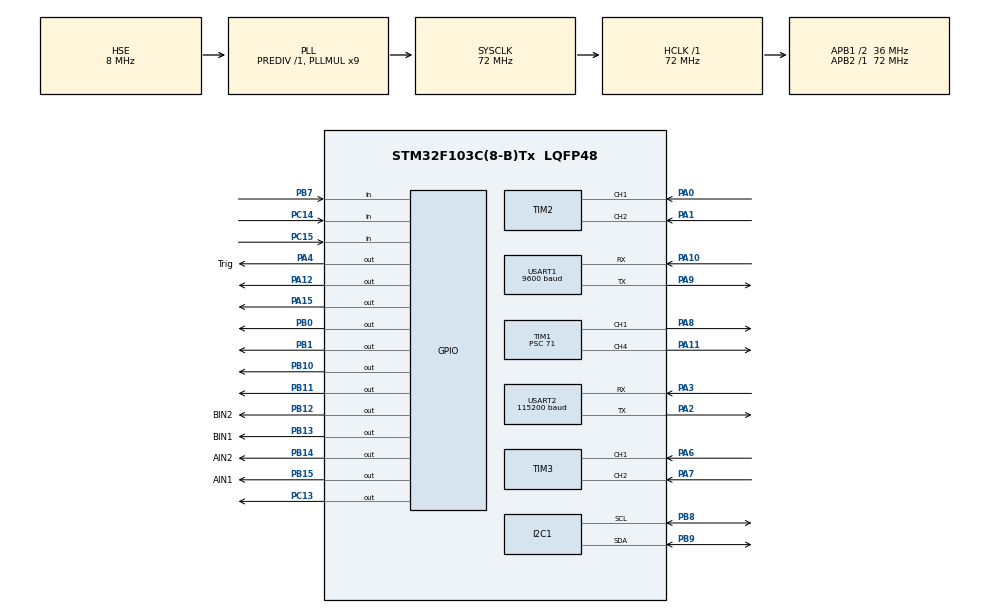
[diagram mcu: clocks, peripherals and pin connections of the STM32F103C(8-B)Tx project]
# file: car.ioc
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Mcu.Family=STM32F1
Mcu.Name=STM32F103C(8-B)Tx
Mcu.Package=LQFP48
NVIC.PriorityGroup=NVIC_PRIORITYGROUP_4
NVIC.USART1_IRQn=true\:0\:0\:false\:false\:true\:true\:true\:true
NVIC.USART2_IRQn=true\:0\:0\:false\:false\:true\:true\:true\:true
PA0-WKUP.GPIO_PuPd=GPIO_PULLUP
PA0-WKUP.Signal=S_TIM2_CH1_ETR
PA1.GPIO_PuPd=GPIO_PULLUP
PA1.Signal=S_TIM2_CH2
PA10.GPIO_PuPd=GPIO_PULLUP
PA10.Mode=Asynchronous
PA10.Signal=USART1_RX
PA11.Signal=S_TIM1_CH4
PA12.Signal=GPIO_Output
PA13.Mode=Serial_Wire
PA13.Signal=SYS_JTMS-SWDIO
PA14.Mode=Serial_Wire
PA14.Signal=SYS_JTCK-SWCLK
PA15.Signal=GPIO_Output
PA2.Mode=Asynchronous
PA2.Signal=USART2_TX
PA3.Mode=Asynchronous
PA3.Signal=USART2_RX
PA4.GPIO_Label=Trig
PA4.Signal=GPIO_Output
PA6.GPIO_PuPd=GPIO_PULLUP
PA6.Signal=S_TIM3_CH1
PA7.GPIO_PuPd=GPIO_PULLUP
PA7.Signal=S_TIM3_CH2
PA8.Signal=S_TIM1_CH1
PA9.Mode=Asynchronous
PA9.Signal=USART1_TX
PB0.Signal=GPIO_Output
PB1.Signal=GPIO_Output
PB10.Signal=GPIO_Output
PB11.Signal=GPIO_Output
PB12.GPIO_Label=BIN2
PB12.GPIO_Speed=GPIO_SPEED_FREQ_MEDIUM
PB12.Signal=GPIO_Output
PB13.GPIO_Label=BIN1
PB13.GPIO_Speed=GPIO_SPEED_FREQ_MEDIUM
PB13.Signal=GPIO_Output
PB14.GPIO_Label=AIN2
PB14.GPIO_Speed=GPIO_SPEED_FREQ_MEDIUM
PB14.Signal=GPIO_Output
PB15.GPIO_Label=AIN1
PB15.GPIO_Speed=GPIO_SPEED_FREQ_MEDIUM
PB15.Signal=GPIO_Output
PB7.GPIO_PuPd=GPIO_PULLDOWN
PB7.Signal=GPIO_Input
PB8.Mode=I2C
PB8.Signal=I2C1_SCL
PB9.Mode=I2C
PB9.Signal=I2C1_SDA
PC13-TAMPER-RTC.Signal=GPIO_Output
PC14-OSC32_IN.GPIO_PuPd=GPIO_PULLDOWN
PC14-OSC32_IN.Signal=GPIO_Input
PC15-OSC32_OUT.GPIO_PuPd=GPIO_PULLDOWN
PC15-OSC32_OUT.Signal=GPIO_Input
PD0-OSC_IN.Mode=HSE-External-Oscillator
PD0-OSC_IN.Signal=RCC_OSC_IN
PD1-OSC_OUT.Mode=HSE-External-Oscillator
PD1-OSC_OUT.Signal=RCC_OSC_OUT
ProjectManager.HeapSize=0x200
ProjectManager.StackSize=0x400
ProjectManager.TargetToolchain=MDK-ARM V5.32
RCC.AHBFreq_Value=72000000
RCC.APB1CLKDivider=RCC_HCLK_DIV2
RCC.APB1Freq_Value=36000000
RCC.APB1TimFreq_Value=72000000
RCC.APB2Freq_Value=72000000
RCC.APB2TimFreq_Value=72000000
RCC.HCLKFreq_Value=72000000
RCC.PLLMUL=RCC_PLL_MUL9
RCC.PLLSourceVirtual=RCC_PLLSOURCE_HSE
RCC.SYSCLKFreq_VALUE=72000000
RCC.SYSCLKSource=RCC_SYSCLKSOURCE_PLLCLK
RCC.USBFreq_Value=72000000
SH.S_TIM1_CH1.0=TIM1_CH1,PWM Generation1 CH1
SH.S_TIM1_CH4.0=TIM1_CH4,PWM Generation4 CH4
SH.S_TIM2_CH1_ETR.0=TIM2_CH1,Encoder_Interface
SH.S_TIM2_CH2.0=TIM2_CH2,Encoder_Interface
SH.S_TIM3_CH1.0=TIM3_CH1,Encoder_Interface
SH.S_TIM3_CH2.0=TIM3_CH2,Encoder_Interface
TIM1.Channel-PWM\ Generation1\ CH1=TIM_CHANNEL_1
TIM1.Channel-PWM\ Generation4\ CH4=TIM_CHANNEL_4
TIM1.Period=999
TIM1.Prescaler=71
TIM2.EncoderMode=TIM_ENCODERMODE_TI12
TIM3.EncoderMode=TIM_ENCODERMODE_TI12
TIM4.Prescaler=71
USART1.BaudRate=9600
USART1.VirtualMode=VM_ASYNC
USART2.BaudRate=115200
USART2.VirtualMode=VM_ASYNC
VP_TIM1_VS_ClockSourceINT.Mode=Internal
VP_TIM4_VS_ClockSourceINT.Mode=Internal
board=custom

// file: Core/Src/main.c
/* USER CODE BEGIN Header */
/**
  ******************************************************************************
  * @file           : main.c
  * @brief          : Main program body
  ******************************************************************************
  * @attention
  *
  * Copyright (c) 2026 STMicroelectronics.
  * All rights reserved.
  *
  * This software is licensed under terms that can be found in the LICENSE file
  * in the root directory of this software component.
  * If no LICENSE file comes with this software, it is provided AS-IS.
  *
  ******************************************************************************
  */
/* USER CODE END Header */
#include "main.h"
#include "i2c.h"
#include "tim.h"
#include "usart.h"
#include "gpio.h"

/* USER CODE BEGIN Includes */
#include "led.h"
#include "buzzer.h"
#include "button.h"
#include "motor.h"
#include "track.h"
#include "oled_menu.h"
#include "mpu6050.h"

#include <stdio.h>

extern float Car_Yaw;
extern System_StateTypeDef System_State;

/* USER CODE END Includes */

/* USER CODE BEGIN PD */
#define TARGET_PULSE_100CM  3300L
#define BASE_SPEED          260
#define KP_YAW              15.0f
#define TASK1_FINISH_MS     500U

#define MIN_DIST_A2B        1500L  // 盲走必须超过此距离，才允许寻找B点黑线
#define MIN_DIST_B2C        3000L  // 循迹必须超过此距离，才允许检测C点出弯(全白)
#define MIN_DIST_C2D        1500L  // 盲走必须超过此距离，才允许寻找D点黑线
#define YAW_COMPENSATE        20.0f // C点出弯航向补偿角
#define YAW_SIGN_DEADZONE      3.0f // 航向符号死区，小角度抖动不用于判断顺逆时针

#define T2_PREPARE_MS       1000U
#define NODE_SIGNAL_MS       500U
#define T2_STEP_PREPARE    ((uint8_t)0xFFU)
#define T2_BLIND_BASE_SPEED  400
#define T2_BLIND_KP         15.0f
#define T2_BLIND_MAX_TURN  260.0f
#define T2_FINISH_DIST      4600L  // D->A 至少到后段后才允许按全白结束
#define T2_FINISH_FAILSAFE_DIST 9000L // 极端情况下的超长距离保险停止，避免无限绕行
#define T2_FINISH_WHITE_MS   200U  // 全白需持续更久，避免弯道瞬时丢线误停

#define MIN_DIST_A2C        2000L  // A->C 对角线盲走最小防抖脉冲
#define MIN_DIST_C2B        3000L  // C->B 弧线循迹最小防抖脉冲
#define MIN_DIST_B2D        1500L  // B->D 对角线盲走最小防抖脉冲
#define MIN_DIST_D2A        3000L  // D->A 弧线循迹最小防抖脉冲

#define YAW_COMP_B2D       55.3f  // B 点出弯转向 D 的补偿角，正负需实测TASK3
#define YAW_COMP_A2C       53.7f  // A 点出弯转向 C 的补偿角，正负需实测

#define F8_PREPARE_MS      1000U
#define F8_STEP_PREPARE   ((uint8_t)0xFFU)
#define F8_BLIND_BASE_SPEED 300
#define F8_BLIND_KP         15.0f  // 增大 P 系数，盲走段纠偏更积极
#define F8_BLIND_MAX_TURN  270.0f  // 配合放大限幅，允许更大差速修正
#define F8_LINE_FOUND_MIN_BLACK 1U
#define F8_LINE_FOUND_HOLD_MS  80U
#define F8_ALL_WHITE_HOLD_MS  120U

#define F8_SPIN_KP             8.0f   // 原地转弯比例系数，不宜过大防止超调
#define F8_SPIN_MAX_SPEED    200.0f   // 原地转弯单轮最大 PWM
#define F8_SPIN_DONE_DEG       3.0f   // 原地转弯到位判定阈值（°），小于此角度认为对准
#define F8_SPIN_SETTLE_MS    200U     // 停车确认后再等待的稳定时长（ms），车在 hold 期间已停好，此值可短

/* USER CODE END PD */

/* USER CODE BEGIN PV */
long Total_EncL = 0L;
long Total_EncR = 0L;
char Total_EncL_Text[16] = "0";
char Total_EncR_Text[16] = "0";
static uint8_t s_active_task = 0U;
static uint32_t s_mpu_update_tick = 0U;
static uint32_t s_encoder_update_tick = 0U;
static uint16_t s_prev_enc_l = 0U;
static uint16_t s_prev_enc_r = 0U;
static uint8_t s_task1_started = 0U;
static uint8_t s_task1_finishing = 0U;
static uint32_t s_task1_finish_tick = 0U;
static uint8_t s_node_signal_active = 0U;
static uint32_t s_node_signal_start_tick = 0U;
static uint8_t s_t2_start_request = 0U;
static uint8_t s_t3_start_request = 0U;
static uint8_t s_t4_start_request = 0U;

/* USER CODE END PV */

void SystemClock_Config(void);
/* USER CODE BEGIN PFP */
void Read_Encoders(void);
void Run_Task_1(void);
void Run_Task_2(void);
void Run_Task_3(void);
void Run_Task_4(void);
void Trigger_Node_Signal(void);
void Node_Signal_Process(uint32_t now);
static void Task2_ResetMotion(uint32_t now);
static uint8_t Track_BlackCount(void);
static void Run_Figure8_Task(uint8_t target_laps);

/* USER CODE END PFP */

int main(void)
{

  /* MCU Configuration--------------------------------------------------------*/

  /* Reset of all peripherals, Initializes the Flash interface and the Systick. */
  HAL_Init();

  /* Configure the system clock */
  SystemClock_Config();

  /* Initialize all configured peripherals */
  MX_GPIO_Init();
  MX_I2C1_Init();
  MX_TIM1_Init();
  MX_TIM2_Init();
  MX_TIM3_Init();
  MX_USART1_UART_Init();
  MX_USART2_UART_Init();
  MX_TIM4_Init();
  /* USER CODE BEGIN 2 */
  LED_Init();
  Buzzer_Init();
  Button_Init();
  Motor_Init();
  OLED_Menu_Init();
  Track_Init();

  /* TIM2 = left encoder, TIM3 = right encoder; verify CubeMX encoder mode and ARR = 65535. */
  if (HAL_TIM_Encoder_Start(&htim2, TIM_CHANNEL_ALL) != HAL_OK)
  {
    Error_Handler();
  }
  if (HAL_TIM_Encoder_Start(&htim3, TIM_CHANNEL_ALL) != HAL_OK)
  {
    Error_Handler();
  }

  __HAL_TIM_SET_COUNTER(&htim2, 0U);
  __HAL_TIM_SET_COUNTER(&htim3, 0U);
  Total_EncL = 0L;
  Total_EncR = 0L;
  s_prev_enc_l = 0U;
  s_prev_enc_r = 0U;
  (void)sprintf(Total_EncL_Text, "%ld", Total_EncL);
  (void)sprintf(Total_EncR_Text, "%ld", Total_EncR);

  MPU_Init();
  s_encoder_update_tick = HAL_GetTick();
  s_mpu_update_tick = HAL_GetTick();

  /* USER CODE END 2 */

  /* Infinite loop */
  while (1)
  {

    /* USER CODE BEGIN 3 */
    {
      uint32_t now = HAL_GetTick();

      while ((uint32_t)(now - s_encoder_update_tick) >= 5U)
      {
        Read_Encoders();
        s_encoder_update_tick = (uint32_t)(s_encoder_update_tick + 5U);
      }

      while ((uint32_t)(now - s_mpu_update_tick) >= 10U)
      {
        MPU_Update_Yaw(0.01f);
        s_mpu_update_tick = (uint32_t)(s_mpu_update_tick + 10U);
      }

      Node_Signal_Process(now);

      if (System_State == PAGE_DASHBOARD)
      {
        switch (s_active_task)
        {
          case 1U:
            Run_Task_1();
            break;

          case 2U:
            Run_Task_2();
            break;

          case 3U:
            Run_Task_3();
            break;

          case 4U:
            Run_Task_4();
            break;

          default:
            break;
        }
      }
    }

    Button_Scan();
    OLED_Menu_Process();
    HAL_Delay(1);
  }
  /* USER CODE END 3 */
}

void SystemClock_Config(void)
{
  RCC_OscInitTypeDef RCC_OscInitStruct = {0};
  RCC_ClkInitTypeDef RCC_ClkInitStruct = {0};

  /** Initializes the RCC Oscillators according to the specified parameters
  * in the RCC_OscInitTypeDef structure.
  */
  RCC_OscInitStruct.OscillatorType = RCC_OSCILLATORTYPE_HSE;
  RCC_OscInitStruct.HSEState = RCC_HSE_ON;
  RCC_OscInitStruct.HSEPredivValue = RCC_HSE_PREDIV_DIV1;
  RCC_OscInitStruct.HSIState = RCC_HSI_ON;
  RCC_OscInitStruct.PLL.PLLState = RCC_PLL_ON;
  RCC_OscInitStruct.PLL.PLLSource = RCC_PLLSOURCE_HSE;
  RCC_OscInitStruct.PLL.PLLMUL = RCC_PLL_MUL9;
  if (HAL_RCC_OscConfig(&RCC_OscInitStruct) != HAL_OK)
  {
    Error_Handler();
  }

  /** Initializes the CPU, AHB and APB buses clocks
  */
  RCC_ClkInitStruct.ClockType = RCC_CLOCKTYPE_HCLK|RCC_CLOCKTYPE_SYSCLK
                              |RCC_CLOCKTYPE_PCLK1|RCC_CLOCKTYPE_PCLK2;
  RCC_ClkInitStruct.SYSCLKSource = RCC_SYSCLKSOURCE_PLLCLK;
  RCC_ClkInitStruct.AHBCLKDivider = RCC_SYSCLK_DIV1;
  RCC_ClkInitStruct.APB1CLKDivider = RCC_HCLK_DIV2;
  RCC_ClkInitStruct.APB2CLKDivider = RCC_HCLK_DIV1;

  if (HAL_RCC_ClockConfig(&RCC_ClkInitStruct, FLASH_LATENCY_2) != HAL_OK)
  {
    Error_Handler();
  }
}

/* USER CODE BEGIN 4 */

void Task_Start(uint8_t task_num)
{
  if (task_num >= 1U && task_num <= 4U)
  {
    s_active_task = task_num;
  }
  else
  {
    s_active_task = 0U;
  }

  if (task_num == 2U)
  {
    s_t2_start_request = 1U;
  }
  else
  {
    s_t2_start_request = 0U;
  }

  if (task_num == 3U)
  {
    s_t3_start_request = 1U;
  }
  else
  {
    s_t3_start_request = 0U;
  }

  if (task_num == 4U)
  {
    s_t4_start_request = 1U;
  }
  else
  {
    s_t4_start_request = 0U;
  }
}

void Trigger_Node_Signal(void)
{
  s_node_signal_active = 1U;
  s_node_signal_start_tick = HAL_GetTick();
  LED_ON();
  BUZZER_ON();
}

void Node_Signal_Process(uint32_t now)
{
  if (s_node_signal_active != 0U && (uint32_t)(now - s_node_signal_start_tick) >= NODE_SIGNAL_MS)
  {
    LED_OFF();
    BUZZER_OFF();
    s_node_signal_active = 0U;
  }
}

static void Task2_ResetMotion(uint32_t now)
{
  __HAL_TIM_SET_COUNTER(&htim2, 0U);
  __HAL_TIM_SET_COUNTER(&htim3, 0U);

  Total_EncL = 0L;
  Total_EncR = 0L;
  s_prev_enc_l = 0U;
  s_prev_enc_r = 0U;

  (void)sprintf(Total_EncL_Text, "%ld", Total_EncL);
  (void)sprintf(Total_EncR_Text, "%ld", Total_EncR);

  s_encoder_update_tick = now;
  s_mpu_update_tick = now;
}

static uint8_t Track_BlackCount(void)
{
  uint8_t black_count = 0U;

  for (uint8_t index = 0U; index < 8U; index++)
  {
    if (Sensor_Data[index] == 0U)
    {
      black_count++;
    }
  }

  return black_count;
}

void Run_Task_1(void)
{
  uint32_t now = HAL_GetTick();
  long average_pulse;
  float error_yaw;
  float turn_out;
  int left_speed;
  int right_speed;

  if (s_task1_started == 0U)
  {
    uint16_t current_enc_l;
    uint16_t current_enc_r;

    s_task1_started = 1U;
    s_task1_finishing = 0U;
    s_task1_finish_tick = 0U;

    Total_EncL = 0L;
    Total_EncR = 0L;
    Car_Yaw = 0.0f;

    current_enc_l = (uint16_t)__HAL_TIM_GET_COUNTER(&htim3);
    current_enc_r = (uint16_t)__HAL_TIM_GET_COUNTER(&htim2);
    s_prev_enc_l = current_enc_l;
    s_prev_enc_r = current_enc_r;

    s_encoder_update_tick = now;
    s_mpu_update_tick = now;

    (void)sprintf(Total_EncL_Text, "%ld", Total_EncL);
    (void)sprintf(Total_EncR_Text, "%ld", Total_EncR);
  }

  if (s_task1_finishing != 0U)
  {
    Motor_SetSpeed(0, 0);

    if ((uint32_t)(now - s_task1_finish_tick) < TASK1_FINISH_MS)
    {
      LED_ON();
      BUZZER_ON();
      return;
    }

    LED_OFF();
    BUZZER_OFF();
    s_active_task = 0U;
    s_task1_started = 0U;
    s_task1_finishing = 0U;
    s_task1_finish_tick = 0U;
    OLED_Menu_Init();
    now = HAL_GetTick();
    s_encoder_update_tick = now;
    s_mpu_update_tick = now;
    return;
  }

  average_pulse = (Total_EncL + Total_EncR) / 2L;

  if (average_pulse >= TARGET_PULSE_100CM)
  {
    Motor_SetSpeed(0, 0);
    s_task1_finishing = 1U;
    s_task1_finish_tick = now;
    LED_ON();
    BUZZER_ON();
    return;
  }

  error_yaw = 0.0f - Car_Yaw;
  turn_out = KP_YAW * error_yaw;
  left_speed = (int)((float)BASE_SPEED + turn_out);
  right_speed = (int)((float)BASE_SPEED - turn_out);

  Motor_SetSpeed(left_speed, right_speed);
}

__weak void Run_Task_2(void)
{
  uint32_t now = HAL_GetTick();
  long average_pulse;
  float error_yaw;
  float turn_out;
  int left_speed;
  int right_speed;
  static uint8_t t2_step = 0U;
  static float T2_Target_Yaw = 0.0f;
  static float t2_last_signed_yaw = 0.0f;
  static uint8_t t2_finish_pending = 0U;
  static uint8_t t2_finish_white_active = 0U;
  static uint32_t t2_finish_white_tick = 0U;
  static uint32_t t2_prepare_tick = 0U;

  if (s_t2_start_request != 0U)
  {
    s_t2_start_request = 0U;
    t2_finish_pending = 0U;
    t2_finish_white_active = 0U;
    t2_finish_white_tick = 0U;
    t2_step = T2_STEP_PREPARE;
    T2_Target_Yaw = 0.0f;
    t2_last_signed_yaw = 0.0f;

    Trigger_Node_Signal();
    Car_Yaw = 0.0f;
    Task2_ResetMotion(now);
    Car_SetSpeed(0, 0);
    t2_prepare_tick = now;
    return;
  }

  if (t2_finish_pending != 0U)
  {
    Car_SetSpeed(0, 0);

    if (s_node_signal_active == 0U)
    {
      s_active_task = 0U;
      t2_finish_pending = 0U;
      t2_step = 0U;
      T2_Target_Yaw = 0.0f;
      s_t2_start_request = 0U;

      OLED_Menu_Init();
      now = HAL_GetTick();
      s_encoder_update_tick = now;
      s_mpu_update_tick = now;
    }

    return;
  }

  switch (t2_step)
  {
    case T2_STEP_PREPARE:
      Car_SetSpeed(0, 0);

      if ((uint32_t)(now - t2_prepare_tick) >= T2_PREPARE_MS)
      {
        t2_step = 1U;
      }
      break;

    case 1U:
      average_pulse = (Total_EncL + Total_EncR) / 2L;
      error_yaw = 0.0f - Car_Yaw;
      turn_out = T2_BLIND_KP * error_yaw;

      if (turn_out > T2_BLIND_MAX_TURN)
      {
        turn_out = T2_BLIND_MAX_TURN;
      }
      else if (turn_out < -T2_BLIND_MAX_TURN)
      {
        turn_out = -T2_BLIND_MAX_TURN;
      }

      left_speed = (int)((float)T2_BLIND_BASE_SPEED + turn_out);
      right_speed = (int)((float)T2_BLIND_BASE_SPEED - turn_out);
      Car_SetSpeed(left_speed, right_speed);

      if ((average_pulse > MIN_DIST_A2B) && (Track_IsLostLine() == 0U))
      {
        Trigger_Node_Signal();
        Task2_ResetMotion(now);
        t2_step = 2U;
      }
      break;

    case 2U:
      Track_FollowLine();
      average_pulse = (Total_EncL + Total_EncR) / 2L;

      if ((Car_Yaw > YAW_SIGN_DEADZONE) || (Car_Yaw < -YAW_SIGN_DEADZONE))
      {
        t2_last_signed_yaw = Car_Yaw;
      }

      if ((average_pulse > MIN_DIST_B2C) && (Track_IsLostLine() == 1U))
      {
        float yaw_basis = t2_last_signed_yaw;
        float yaw_comp = YAW_COMPENSATE;

        if ((yaw_basis <= YAW_SIGN_DEADZONE) && (yaw_basis >= -YAW_SIGN_DEADZONE))
        {
          yaw_basis = Car_Yaw;
        }

        if (yaw_basis < -YAW_SIGN_DEADZONE)
        {
          yaw_comp = -YAW_COMPENSATE;
        }

        Trigger_Node_Signal();
        T2_Target_Yaw = Car_Yaw + yaw_comp;
        Task2_ResetMotion(now);
        t2_step = 3U;
      }
      break;

    case 3U:
      average_pulse = (Total_EncL + Total_EncR) / 2L;
      error_yaw = T2_Target_Yaw - Car_Yaw;
      turn_out = T2_BLIND_KP * error_yaw;

      if (turn_out > T2_BLIND_MAX_TURN)
      {
        turn_out = T2_BLIND_MAX_TURN;
      }
      else if (turn_out < -T2_BLIND_MAX_TURN)
      {
        turn_out = -T2_BLIND_MAX_TURN;
      }

      left_speed = (int)((float)T2_BLIND_BASE_SPEED + turn_out);
      right_speed = (int)((float)T2_BLIND_BASE_SPEED - turn_out);
      Car_SetSpeed(left_speed, right_speed);

      if ((average_pulse > MIN_DIST_C2D) && (Track_IsLostLine() == 0U))
      {
        Trigger_Node_Signal();
        Task2_ResetMotion(now);
        t2_finish_white_active = 0U;
        t2_finish_white_tick = 0U;
        t2_step = 4U;
      }
      break;

    case 4U:
      Track_FollowLine();
      average_pulse = (Total_EncL + Total_EncR) / 2L;

      if ((average_pulse > T2_FINISH_DIST) && (Track_IsLostLine() == 1U))
      {
        if (t2_finish_white_active == 0U)
        {
          t2_finish_white_active = 1U;
          t2_finish_white_tick = now;
        }
        else if ((uint32_t)(now - t2_finish_white_tick) >= T2_FINISH_WHITE_MS)
        {
          Car_SetSpeed(0, 0);
          Trigger_Node_Signal();
          t2_finish_pending = 1U;
        }
      }
      else
      {
        t2_finish_white_active = 0U;

        if (average_pulse > T2_FINISH_FAILSAFE_DIST)
        {
          Car_SetSpeed(0, 0);
          Trigger_Node_Signal();
          t2_finish_pending = 1U;
        }
      }
      break;

    default:
      t2_step = T2_STEP_PREPARE;
      t2_finish_white_active = 0U;
      t2_finish_white_tick = 0U;
      Trigger_Node_Signal();
      Car_Yaw = 0.0f;
      Task2_ResetMotion(now);
      Car_SetSpeed(0, 0);
      t2_prepare_tick = now;
      break;
  }
}

__weak void Run_Task_3(void)
{
  Run_Figure8_Task(1U);
}

__weak void Run_Task_4(void)
{
  Run_Figure8_Task(4U);
}

static void Run_Figure8_Task(uint8_t target_laps)
{
  uint32_t now = HAL_GetTick();
  long average_pulse;
  uint8_t black_count;
  uint8_t raw_transition;
  float error_yaw;
  float turn_out;
  int left_speed;
  int right_speed;
  uint8_t *start_request;

  static uint8_t step = 0U;
  static float Target_Yaw = 0.0f;
  static float last_signed_yaw = 0.0f;
  static uint8_t current_lap = 0U;
  static uint8_t finish_pending = 0U;
  static uint8_t cond_hold_active = 0U;
  static uint32_t cond_hold_tick = 0U;
  static uint32_t prepare_tick = 0U;
  static uint32_t spin_settle_tick = 0U;  /* 进入原地转弯时记录的时刻，用于停车稳定等待 */

  if (target_laps <= 1U)
  {
    start_request = &s_t3_start_request;
  }
  else
  {
    start_request = &s_t4_start_request;
  }

  if (*start_request != 0U)
  {
    *start_request = 0U;
    finish_pending = 0U;
    step = F8_STEP_PREPARE;
    Target_Yaw = 0.0f;
    last_signed_yaw = 0.0f;
    current_lap = 0U;
    cond_hold_active = 0U;
    cond_hold_tick = 0U;
    spin_settle_tick = 0U;

    Trigger_Node_Signal();
    Car_Yaw = 0.0f;
    Task2_ResetMotion(now);
    Car_SetSpeed(0, 0);
    prepare_tick = now;
    return;
  }

  if (finish_pending != 0U)
  {
    Car_SetSpeed(0, 0);

    if (s_node_signal_active == 0U)
    {
      s_active_task = 0U;
      finish_pending = 0U;
      step = 0U;
      Target_Yaw = 0.0f;
      last_signed_yaw = 0.0f;
      current_lap = 0U;
      cond_hold_active = 0U;
      cond_hold_tick = 0U;
      s_t3_start_request = 0U;
      s_t4_start_request = 0U;

      OLED_Menu_Init();
      now = HAL_GetTick();
      s_encoder_update_tick = now;
      s_mpu_update_tick = now;
    }

    return;
  }

  switch (step)
  {
    case F8_STEP_PREPARE:
      Car_SetSpeed(0, 0);

      if ((uint32_t)(now - prepare_tick) >= F8_PREPARE_MS)
      {
        step = 1U;
        Target_Yaw = 0.0f;
        cond_hold_active = 0U;
        cond_hold_tick = 0U;
      }
      break;

    case 1U:
      average_pulse = (Total_EncL + Total_EncR) / 2L;
      error_yaw = Target_Yaw - Car_Yaw;
      turn_out = F8_BLIND_KP * error_yaw;

      if (turn_out > F8_BLIND_MAX_TURN)
      {
        turn_out = F8_BLIND_MAX_TURN;
      }
      else if (turn_out < -F8_BLIND_MAX_TURN)
      {
        turn_out = -F8_BLIND_MAX_TURN;
      }

      left_speed = (int)((float)F8_BLIND_BASE_SPEED + turn_out);
      right_speed = (int)((float)F8_BLIND_BASE_SPEED - turn_out);
      Car_SetSpeed(left_speed, right_speed);

      black_count = Track_BlackCount();
      raw_transition = (uint8_t)(((average_pulse > MIN_DIST_A2C) && (Track_IsLostLine() == 0U) && (black_count >= F8_LINE_FOUND_MIN_BLACK)) ? 1U : 0U);

      if (raw_transition != 0U)
      {
        if (cond_hold_active == 0U)
        {
          cond_hold_active = 1U;
          cond_hold_tick = now;
        }
        else if ((uint32_t)(now - cond_hold_tick) >= F8_LINE_FOUND_HOLD_MS)
        {
          Trigger_Node_Signal();
          Task2_ResetMotion(now);
          /* 进入弧线前重置 Yaw 基准，弧线段从 0° 开始重新积分，防止前段误差带入 */
          Car_Yaw = 0.0f;
          last_signed_yaw = 0.0f;
          step = 2U;
          cond_hold_active = 0U;
        }
      }
      else
      {
        cond_hold_active = 0U;
      }
      break;

    case 2U:
      average_pulse = (Total_EncL + Total_EncR) / 2L;

      /* 若已触发出弯条件，立刻刹车，禁止继续循迹，保证停车角度一致 */
      if (cond_hold_active != 0U)
      {
        Car_SetSpeed(0, 0);
      }
      else
      {
        Track_FollowLine();
      }

      if ((Car_Yaw > YAW_SIGN_DEADZONE) || (Car_Yaw < -YAW_SIGN_DEADZONE))
      {
        last_signed_yaw = Car_Yaw;
      }

      raw_transition = (uint8_t)(((average_pulse > MIN_DIST_C2B) && (Track_IsLostLine() == 1U)) ? 1U : 0U);

      if (raw_transition != 0U)
      {
        if (cond_hold_active == 0U)
        {
          /* 第一次检测到全白：立刻停车，开始计时确认 */
          cond_hold_active = 1U;
          cond_hold_tick = now;
          Car_SetSpeed(0, 0);
        }
        else if ((uint32_t)(now - cond_hold_tick) >= F8_ALL_WHITE_HOLD_MS)
        {
          float yaw_basis = last_signed_yaw;
          float yaw_comp = YAW_COMP_B2D;

          if ((yaw_basis <= YAW_SIGN_DEADZONE) && (yaw_basis >= -YAW_SIGN_DEADZONE))
          {
            yaw_basis = Car_Yaw;
          }

          if (yaw_basis < -YAW_SIGN_DEADZONE)
          {
            yaw_comp = -YAW_COMP_B2D;
          }

          Trigger_Node_Signal();
          Task2_ResetMotion(now);
          /* 车在 hold 期间已刹停，此处重置 Yaw 基准后直接进入原地转弯 */
          Car_Yaw = 0.0f;
          Target_Yaw = yaw_comp;
          spin_settle_tick = now;
          step = 21U;
          cond_hold_active = 0U;
        }
      }
      else
      {
        cond_hold_active = 0U;
      }
      break;

    case 21U:  /* 原地转弯：B 点，转向 D 方向 */
    {
      /* 第一阶段：停车稳定等待，让车身惯性完全消散 */
      if ((uint32_t)(now - spin_settle_tick) < F8_SPIN_SETTLE_MS)
      {
        Car_SetSpeed(0, 0);
        break;
      }

      /* 第二阶段：开始原地旋转 */
      {
        float error_spin = Target_Yaw - Car_Yaw;
        float spin_out;
        float abs_error = (error_spin < 0.0f) ? -error_spin : error_spin;
        int16_t spin_pwm;

        if (abs_error <= F8_SPIN_DONE_DEG)
        {
          /* 已转到位：重置基准，直走目标设 0，进入盲走 B→D */
          Car_SetSpeed(0, 0);
          Task2_ResetMotion(now);
          Car_Yaw = 0.0f;
          Target_Yaw = 0.0f;
          last_signed_yaw = 0.0f;
          step = 3U;
        }
        else
        {
          /* 还没转到位：原地差速旋转 */
          spin_out = F8_SPIN_KP * error_spin;
          if (spin_out >  F8_SPIN_MAX_SPEED) { spin_out =  F8_SPIN_MAX_SPEED; }
          if (spin_out < -F8_SPIN_MAX_SPEED) { spin_out = -F8_SPIN_MAX_SPEED; }
          spin_pwm = (int16_t)spin_out;
          Car_SetSpeed(spin_pwm, (int16_t)(-spin_pwm));
        }
      }
    }
    break;

    case 3U:
      average_pulse = (Total_EncL + Total_EncR) / 2L;
      error_yaw = Target_Yaw - Car_Yaw;
      turn_out = F8_BLIND_KP * error_yaw;

      if (turn_out > F8_BLIND_MAX_TURN)
      {
        turn_out = F8_BLIND_MAX_TURN;
      }
      else if (turn_out < -F8_BLIND_MAX_TURN)
      {
        turn_out = -F8_BLIND_MAX_TURN;
      }

      left_speed = (int)((float)F8_BLIND_BASE_SPEED + turn_out);
      right_speed = (int)((float)F8_BLIND_BASE_SPEED - turn_out);
      Car_SetSpeed(left_speed, right_speed);

      black_count = Track_BlackCount();
      raw_transition = (uint8_t)(((average_pulse > MIN_DIST_B2D) && (Track_IsLostLine() == 0U) && (black_count >= F8_LINE_FOUND_MIN_BLACK)) ? 1U : 0U);

      if (raw_transition != 0U)
      {
        if (cond_hold_active == 0U)
        {
          cond_hold_active = 1U;
          cond_hold_tick = now;
        }
        else if ((uint32_t)(now - cond_hold_tick) >= F8_LINE_FOUND_HOLD_MS)
        {
          Trigger_Node_Signal();
          Task2_ResetMotion(now);
          /* 进入下一段弧线前重置 Yaw 基准，last_signed_yaw 也归零等待新弧线数据 */
          Car_Yaw = 0.0f;
          last_signed_yaw = 0.0f;
          step = 4U;
          cond_hold_active = 0U;
        }
      }
      else
      {
        cond_hold_active = 0U;
      }
      break;

    case 4U:
      average_pulse = (Total_EncL + Total_EncR) / 2L;

      /* 若已触发出弯条件，立刻刹车，禁止继续循迹，保证停车角度一致 */
      if (cond_hold_active != 0U)
      {
        Car_SetSpeed(0, 0);
      }
      else
      {
        Track_FollowLine();
      }

      if ((Car_Yaw > YAW_SIGN_DEADZONE) || (Car_Yaw < -YAW_SIGN_DEADZONE))
      {
        last_signed_yaw = Car_Yaw;
      }

      raw_transition = (uint8_t)(((average_pulse > MIN_DIST_D2A) && (Track_IsLostLine() == 1U)) ? 1U : 0U);

      if (raw_transition != 0U)
      {
        if (cond_hold_active == 0U)
        {
          /* 第一次检测到全白：立刻停车，开始计时确认 */
          cond_hold_active = 1U;
          cond_hold_tick = now;
          Car_SetSpeed(0, 0);
        }
        else if ((uint32_t)(now - cond_hold_tick) >= F8_ALL_WHITE_HOLD_MS)
        {
          float yaw_basis = last_signed_yaw;
          float yaw_comp = YAW_COMP_A2C;

          if ((yaw_basis <= YAW_SIGN_DEADZONE) && (yaw_basis >= -YAW_SIGN_DEADZONE))
          {
            yaw_basis = Car_Yaw;
          }

          if (yaw_basis < -YAW_SIGN_DEADZONE)
          {
            yaw_comp = -YAW_COMP_A2C;
          }

          Trigger_Node_Signal();
          Task2_ResetMotion(now);
          current_lap++;

          if (current_lap < target_laps)
          {
            /* 车在 hold 期间已刹停，重置基准后直接进入原地转弯 */
            Car_Yaw = 0.0f;
            Target_Yaw = yaw_comp;
            spin_settle_tick = now;
            step = 41U;
          }
          else
          {
            Car_SetSpeed(0, 0);
            finish_pending = 1U;
          }

          cond_hold_active = 0U;
        }
      }
      else
      {
        cond_hold_active = 0U;
      }
      break;

    case 41U:  /* 原地转弯：A 点，转向 C 方向，进入下一圈 */
    {
      /* 第一阶段：停车稳定等待，让车身惯性完全消散 */
      if ((uint32_t)(now - spin_settle_tick) < F8_SPIN_SETTLE_MS)
      {
        Car_SetSpeed(0, 0);
        break;
      }

      /* 第二阶段：开始原地旋转 */
      {
        float error_spin = Target_Yaw - Car_Yaw;
        float spin_out;
        float abs_error = (error_spin < 0.0f) ? -error_spin : error_spin;
        int16_t spin_pwm;

        if (abs_error <= F8_SPIN_DONE_DEG)
        {
          /* 已转到位：重置基准，直走目标设 0，进入盲走 A→C */
          Car_SetSpeed(0, 0);
          Task2_ResetMotion(now);
          Car_Yaw = 0.0f;
          Target_Yaw = 0.0f;
          last_signed_yaw = 0.0f;
          step = 1U;
        }
        else
        {
          /* 还没转到位：原地差速旋转 */
          spin_out = F8_SPIN_KP * error_spin;
          if (spin_out >  F8_SPIN_MAX_SPEED) { spin_out =  F8_SPIN_MAX_SPEED; }
          if (spin_out < -F8_SPIN_MAX_SPEED) { spin_out = -F8_SPIN_MAX_SPEED; }
          spin_pwm = (int16_t)spin_out;
          Car_SetSpeed(spin_pwm, (int16_t)(-spin_pwm));
        }
      }
    }
    break;

    default:
      step = F8_STEP_PREPARE;
      Target_Yaw = 0.0f;
      last_signed_yaw = 0.0f;
      current_lap = 0U;
      cond_hold_active = 0U;
      cond_hold_tick = 0U;
      Trigger_Node_Signal();
      Car_Yaw = 0.0f;
      Task2_ResetMotion(now);
      Car_SetSpeed(0, 0);
      prepare_tick = now;
      break;
  }
}

void Read_Encoders(void)
{
  uint16_t enc_l_now;
  uint16_t enc_r_now;
  int16_t enc_l_delta;
  int16_t enc_r_delta;

  enc_l_now = (uint16_t)__HAL_TIM_GET_COUNTER(&htim3);
  enc_r_now = (uint16_t)__HAL_TIM_GET_COUNTER(&htim2);

  enc_l_delta = (int16_t)(enc_l_now - s_prev_enc_l);
  enc_r_delta = (int16_t)(enc_r_now - s_prev_enc_r);

  Total_EncL += (long)(-enc_l_delta);
  Total_EncR += (long)(enc_r_delta);

  s_prev_enc_l = enc_l_now;
  s_prev_enc_r = enc_r_now;

  (void)sprintf(Total_EncL_Text, "%ld", Total_EncL);
  (void)sprintf(Total_EncR_Text, "%ld", Total_EncR);
}

/* USER CODE END 4 */

void Error_Handler(void)
{
  __disable_irq();
  while (1)
  {
  }
}
